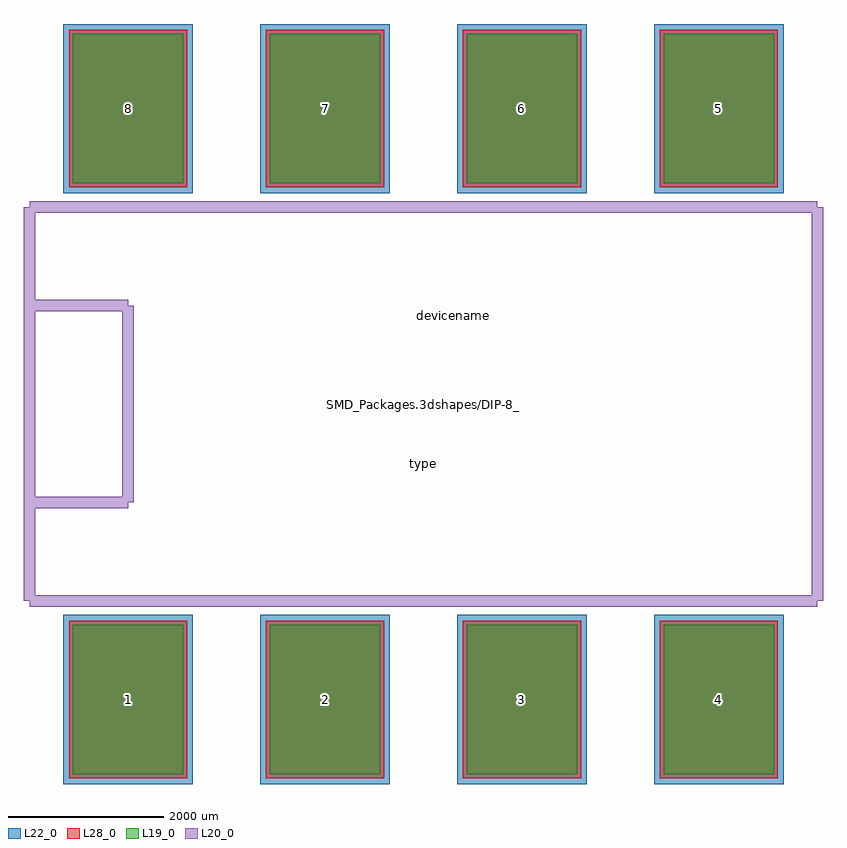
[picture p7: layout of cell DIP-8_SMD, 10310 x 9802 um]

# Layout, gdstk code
import gdstk
lib = gdstk.Library(unit=1e-6, precision=1e-09)
def R(c, l, rs):  # rectangles x0, y0, x1, y1
    for r in rs: c.add(gdstk.rectangle(r[:2], r[2:], *l))
def A(c, l, x, y, w, h, nx, ny, dx, dy):  # array of equal rectangles
    R(c, l, [(x+i*dx, y+j*dy, x+i*dx+w, y+j*dy+h) for i in range(nx) for j in range(ny)])
L19_0 = (19, 0)
L20_0 = (20, 0)
L22_0 = (22, 0)
L28_0 = (28, 0)

dip_8_smd = lib.new_cell('DIP-8_SMD')
A(dip_8_smd, L19_0, -4522, -4776, 1424, 1932, 4, 2, 2540, 7620)
A(dip_8_smd, L22_0, -4647, -4901, 1674, 2182, 4, 2, 2540, 7620)
A(dip_8_smd, L28_0, -4572, -4826, 1524, 2032, 4, 2, 2540, 7620)
dip_8_smd.add(gdstk.FlexPath([(-3810,-1270),(-5080,-1270)], 149.998, ends="flush", simple_path=True, layer=20, datatype=0))  # L20_0
dip_8_smd.add(gdstk.FlexPath([(-3810,1270),(-3810,-1270)], 149.998, ends="flush", simple_path=True, layer=20, datatype=0))  # L20_0
dip_8_smd.add(gdstk.FlexPath([(-5080,1270),(-3810,1270)], 149.998, ends="flush", simple_path=True, layer=20, datatype=0))  # L20_0
dip_8_smd.add(gdstk.FlexPath([(5080,2540),(-5080,2540)], 149.998, ends="flush", simple_path=True, layer=20, datatype=0))  # L20_0
dip_8_smd.add(gdstk.FlexPath([(5080,-2540),(5080,2540)], 149.998, ends="flush", simple_path=True, layer=20, datatype=0))  # L20_0
dip_8_smd.add(gdstk.FlexPath([(-5080,-2540),(5080,-2540)], 149.998, ends="flush", simple_path=True, layer=20, datatype=0))  # L20_0
dip_8_smd.add(gdstk.FlexPath([(-5080,2540),(-5080,-2540)], 149.998, ends="flush", simple_path=True, layer=20, datatype=0))  # L20_0
dip_8_smd.add(gdstk.Label('SMD_Packages.3dshapes/DIP-8_SMD.wrl', (0,0), layer=12, texttype=0))
dip_8_smd.add(gdstk.Label('8', (-3810,3810), layer=28, texttype=0))
dip_8_smd.add(gdstk.Label('7', (-1270,3810), layer=28, texttype=0))
dip_8_smd.add(gdstk.Label('6', (1270,3810), layer=28, texttype=0))
dip_8_smd.add(gdstk.Label('5', (3810,3810), layer=28, texttype=0))
dip_8_smd.add(gdstk.Label('4', (3810,-3810), layer=28, texttype=0))
dip_8_smd.add(gdstk.Label('3', (1270,-3810), layer=28, texttype=0))
dip_8_smd.add(gdstk.Label('2', (-1270,-3810), layer=28, texttype=0))
dip_8_smd.add(gdstk.Label('1', (-3810,-3810), layer=28, texttype=0))
dip_8_smd.add(gdstk.Label('type', (0,-762), layer=9, texttype=0))
dip_8_smd.add(gdstk.Label('devicename', (381,1143), layer=9, texttype=0))

lib.write_gds('DIP-8_SMD.gds')
